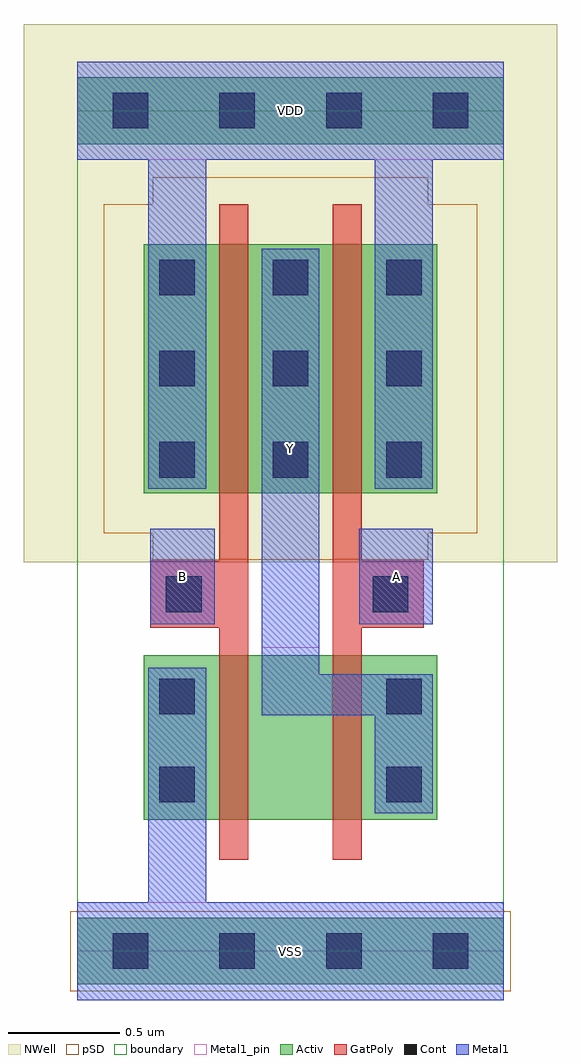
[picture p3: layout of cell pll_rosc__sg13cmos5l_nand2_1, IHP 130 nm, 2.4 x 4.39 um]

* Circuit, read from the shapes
.subckt pll_rosc__sg13cmos5l_nand2_1 A B VDD VSS Y
XM1 n1 B VSS VSS sg13_lv_nmos w=0.74u l=0.13u
XM2 Y A n1 VSS sg13_lv_nmos w=0.74u l=0.13u
XM3 Y B VDD VDD sg13_lv_pmos w=1.12u l=0.13u
XM4 VDD A Y VDD sg13_lv_pmos w=1.12u l=0.13u
.ends

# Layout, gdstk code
import gdstk
lib = gdstk.Library(unit=1e-6, precision=1e-09)
def R(c, l, rs):  # rectangles x0, y0, x1, y1
    for r in rs: c.add(gdstk.rectangle(r[:2], r[2:], *l))
def A(c, l, x, y, w, h, nx, ny, dx, dy):  # array of equal rectangles
    R(c, l, [(x+i*dx, y+j*dy, x+i*dx+w, y+j*dy+h) for i in range(nx) for j in range(ny)])
Activ = (1, 0)
GatPoly = (5, 0)
Cont = (6, 0)
Metal1 = (8, 0)
Metal1_pin = (8, 2)
pSD = (14, 0)
NWell = (31, 0)
boundary = (189, 4)

pll_rosc__sg13cmos5l_nan = lib.new_cell('pll_rosc__sg13cmos5l_nand2_1')
R(pll_rosc__sg13cmos5l_nan, Activ, [(0,-0.15,1.92,0.15), (0.3,0.59,1.62,1.33), (0.3,2.06,1.62,3.18), (0,3.63,1.92,3.93)])
R(pll_rosc__sg13cmos5l_nan, GatPoly, [(0.64,0.41,0.77,1.455), (1.15,0.41,1.28,1.455), (0.33,1.455,0.77,1.755), (1.15,1.455,1.56,1.755), (0.64,1.755,0.77,3.36), (1.15,1.755,1.28,3.36)])
A(pll_rosc__sg13cmos5l_nan, Cont, 0.16, -0.08, 0.16, 0.16, 4, 2, 0.48, 3.78)
A(pll_rosc__sg13cmos5l_nan, Cont, 0.37, 2.13, 0.16, 0.16, 3, 3, 0.51, 0.41)
R(pll_rosc__sg13cmos5l_nan, Cont, [(0.37,0.67,0.53,0.83), (1.39,0.67,1.55,0.83), (0.37,1.065,0.53,1.225), (1.39,1.065,1.55,1.225), (0.4,1.525,0.56,1.685), (1.33,1.525,1.49,1.685)])
R(pll_rosc__sg13cmos5l_nan, Metal1, [(0,-0.22,1.92,0.22), (0.32,0.22,0.58,1.275), (1.34,0.62,1.6,1.06), (0.83,1.06,1.6,1.245), (0.83,1.245,1.09,3.16), (0.33,1.47,0.62,1.9), (1.27,1.47,1.6,1.9), (0.32,2.08,0.58,3.56), (1.34,2.08,1.6,3.56), (0,3.56,1.92,4)])
R(pll_rosc__sg13cmos5l_nan, Metal1_pin, [(0,-0.22,1.92,0.22), (0.83,1.365,1.09,3.16), (0.33,1.47,0.62,1.9), (1.27,1.47,1.6,1.9), (0,3.56,1.92,4)])
R(pll_rosc__sg13cmos5l_nan, pSD, [(-0.03,-0.18,1.95,0.18), (0.34,1.76,1.58,1.88), (0.12,1.88,1.8,3.36), (0.34,3.36,1.58,3.48)])
R(pll_rosc__sg13cmos5l_nan, NWell, [(-0.24,1.75,2.16,4.17)])
R(pll_rosc__sg13cmos5l_nan, boundary, [(0,0,1.92,3.78)])
pll_rosc__sg13cmos5l_nan.add(gdstk.Label('Y', (0.96,2.262), layer=8, texttype=25))
pll_rosc__sg13cmos5l_nan.add(gdstk.Label('VDD', (0.96,3.78), layer=8, texttype=25))
pll_rosc__sg13cmos5l_nan.add(gdstk.Label('A', (1.435,1.685), layer=8, texttype=25))
pll_rosc__sg13cmos5l_nan.add(gdstk.Label('VSS', (0.96,0), layer=8, texttype=25))
pll_rosc__sg13cmos5l_nan.add(gdstk.Label('B', (0.475,1.685), layer=8, texttype=25))

lib.write_gds('pll_rosc__sg13cmos5l_nand2_1.gds')
